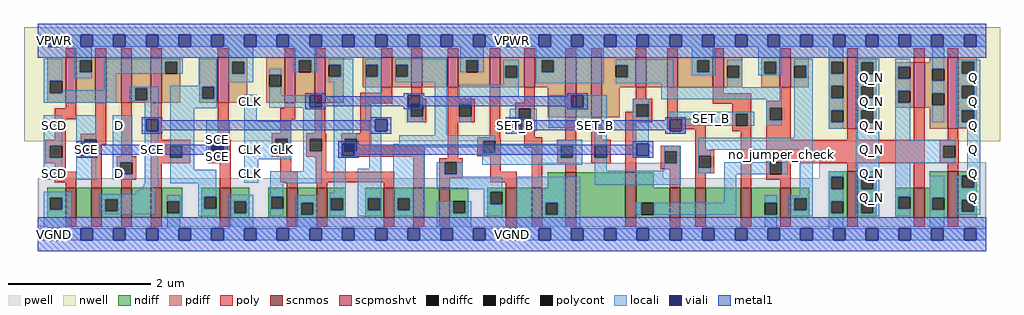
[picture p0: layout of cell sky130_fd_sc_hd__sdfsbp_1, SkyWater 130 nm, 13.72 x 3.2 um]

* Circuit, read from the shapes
.subckt sky130_fd_sc_hd__sdfsbp_1 CLK D SCD SCE SET_B VGND VNB VPB VPWR Q Q_N
XM1 n1 SCD VGND VNB sky130_fd_pr__nfet_01v8 w=0.42 l=0.15
XM2 n2 SCE n1 VNB sky130_fd_pr__nfet_01v8 w=0.42 l=0.15
XM3 n3 D n2 VNB sky130_fd_pr__nfet_01v8 w=0.42 l=0.15
XM4 VGND n4 n3 VNB sky130_fd_pr__nfet_01v8 w=0.42 l=0.15
XM5 VGND SCE n4 VNB sky130_fd_pr__nfet_01v8 w=0.42 l=0.15
XM6 VGND CLK n5 VNB sky130_fd_pr__nfet_01v8 w=0.42 l=0.15
XM7 n6 n5 VGND VNB sky130_fd_pr__nfet_01v8 w=0.42 l=0.15
XM8 n7 n5 n2 VNB sky130_fd_pr__nfet_01v8 w=0.42 l=0.15
XM9 n8 n6 n7 VNB sky130_fd_pr__nfet_01v8 w=0.42 l=0.15
XM10 VGND n9 n8 VNB sky130_fd_pr__nfet_01v8 w=0.42 l=0.15
XM11 n10 n7 n9 VNB sky130_fd_pr__nfet_01v8 w=0.42 l=0.15
XM12 VGND SET_B n10 VNB sky130_fd_pr__nfet_01v8 w=0.42 l=0.15
XM13 n11 n7 VGND VNB sky130_fd_pr__nfet_01v8 w=0.64 l=0.15
XM14 n12 n6 n11 VNB sky130_fd_pr__nfet_01v8 w=0.64 l=0.15
XM15 n13 n5 n12 VNB sky130_fd_pr__nfet_01v8 w=0.42 l=0.15
XM16 n14 n15 n13 VNB sky130_fd_pr__nfet_01v8 w=0.42 l=0.15
XM17 VGND SET_B n14 VNB sky130_fd_pr__nfet_01v8 w=0.42 l=0.15
XM18 n15 n12 VGND VNB sky130_fd_pr__nfet_01v8 w=0.42 l=0.15
XM19 Q_N n12 VGND VNB sky130_fd_pr__nfet_01v8 w=0.65 l=0.15
XM20 VGND n12 n16 VNB sky130_fd_pr__nfet_01v8 w=0.42 l=0.15
XM21 Q n16 VGND VNB sky130_fd_pr__nfet_01v8 w=0.65 l=0.15
XM22 VPWR SCD n17 VPB sky130_fd_pr__pfet_01v8_hvt w=0.64 l=0.15
XM23 n18 SCE VPWR VPB sky130_fd_pr__pfet_01v8_hvt w=0.64 l=0.15
XM24 n2 D n18 VPB sky130_fd_pr__pfet_01v8_hvt w=0.64 l=0.15
XM25 n17 n4 n2 VPB sky130_fd_pr__pfet_01v8_hvt w=0.64 l=0.15
XM26 VPWR SCE n4 VPB sky130_fd_pr__pfet_01v8_hvt w=0.64 l=0.15
XM27 VPWR CLK n5 VPB sky130_fd_pr__pfet_01v8_hvt w=0.64 l=0.15
XM28 n6 n5 VPWR VPB sky130_fd_pr__pfet_01v8_hvt w=0.64 l=0.15
XM29 n7 n6 n2 VPB sky130_fd_pr__pfet_01v8_hvt w=0.42 l=0.15
XM30 n19 n5 n7 VPB sky130_fd_pr__pfet_01v8_hvt w=0.42 l=0.15
XM31 VPWR n9 n19 VPB sky130_fd_pr__pfet_01v8_hvt w=0.42 l=0.15
XM32 n9 n7 VPWR VPB sky130_fd_pr__pfet_01v8_hvt w=0.42 l=0.15
XM33 VPWR SET_B n9 VPB sky130_fd_pr__pfet_01v8_hvt w=0.42 l=0.15
XM34 n20 n7 VPWR VPB sky130_fd_pr__pfet_01v8_hvt w=0.84 l=0.15
XM35 n12 n5 n20 VPB sky130_fd_pr__pfet_01v8_hvt w=0.84 l=0.15
XM36 n21 n6 n12 VPB sky130_fd_pr__pfet_01v8_hvt w=0.42 l=0.15
XM37 VPWR n15 n21 VPB sky130_fd_pr__pfet_01v8_hvt w=0.42 l=0.15
XM38 n12 SET_B VPWR VPB sky130_fd_pr__pfet_01v8_hvt w=0.42 l=0.15
XM39 n15 n12 VPWR VPB sky130_fd_pr__pfet_01v8_hvt w=0.42 l=0.15
XM40 Q_N n12 VPWR VPB sky130_fd_pr__pfet_01v8_hvt w=1 l=0.15
XM41 VPWR n12 n16 VPB sky130_fd_pr__pfet_01v8_hvt w=0.64 l=0.15
XM42 Q n16 VPWR VPB sky130_fd_pr__pfet_01v8_hvt w=1 l=0.15
.ends

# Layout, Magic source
magic
tech sky130B
magscale 1 2
<< nwell >>
rect -38 261 2706 582
<< pwell >>
rect 1408 157 1759 201
rect 2198 157 2667 203
rect 1 21 2667 157
rect 30 -17 64 21
<< scnmos >>
rect 79 47 109 131
rect 151 47 181 131
rect 235 47 265 131
rect 319 47 349 131
rect 513 47 543 131
rect 701 47 731 131
rect 785 47 815 131
rect 973 47 1003 131
rect 1057 47 1087 131
rect 1129 47 1159 131
rect 1317 47 1347 131
rect 1389 47 1419 131
rect 1484 47 1514 175
rect 1653 47 1683 175
rect 1777 47 1807 131
rect 1849 47 1879 131
rect 1977 47 2007 131
rect 2088 47 2118 131
rect 2276 47 2306 177
rect 2464 47 2494 131
rect 2559 47 2589 177
<< scpmoshvt >>
rect 79 369 109 497
rect 163 369 193 497
rect 235 369 265 497
rect 319 369 349 497
rect 507 369 537 497
rect 695 369 725 497
rect 779 369 809 497
rect 967 413 997 497
rect 1051 413 1081 497
rect 1153 413 1183 497
rect 1271 413 1301 497
rect 1368 413 1398 497
rect 1484 329 1514 497
rect 1557 329 1587 497
rect 1682 413 1712 497
rect 1770 413 1800 497
rect 1899 413 1929 497
rect 2087 413 2117 497
rect 2276 297 2306 497
rect 2464 355 2494 483
rect 2559 297 2589 497
<< ndiff >>
rect 1434 131 1484 175
rect 27 103 79 131
rect 27 69 35 103
rect 69 69 79 103
rect 27 47 79 69
rect 109 47 151 131
rect 181 98 235 131
rect 181 64 191 98
rect 225 64 235 98
rect 181 47 235 64
rect 265 47 319 131
rect 349 93 407 131
rect 349 59 365 93
rect 399 59 407 93
rect 349 47 407 59
rect 461 105 513 131
rect 461 71 469 105
rect 503 71 513 105
rect 461 47 513 71
rect 543 93 595 131
rect 543 59 553 93
rect 587 59 595 93
rect 543 47 595 59
rect 649 105 701 131
rect 649 71 657 105
rect 691 71 701 105
rect 649 47 701 71
rect 731 89 785 131
rect 731 55 741 89
rect 775 55 785 89
rect 731 47 785 55
rect 815 101 867 131
rect 815 67 825 101
rect 859 67 867 101
rect 815 47 867 67
rect 921 101 973 131
rect 921 67 929 101
rect 963 67 973 101
rect 921 47 973 67
rect 1003 101 1057 131
rect 1003 67 1013 101
rect 1047 67 1057 101
rect 1003 47 1057 67
rect 1087 47 1129 131
rect 1159 93 1211 131
rect 1159 59 1169 93
rect 1203 59 1211 93
rect 1159 47 1211 59
rect 1265 119 1317 131
rect 1265 85 1273 119
rect 1307 85 1317 119
rect 1265 47 1317 85
rect 1347 47 1389 131
rect 1419 89 1484 131
rect 1419 55 1429 89
rect 1463 55 1484 89
rect 1419 47 1484 55
rect 1514 47 1653 175
rect 1683 131 1733 175
rect 2224 161 2276 177
rect 1683 89 1777 131
rect 1683 55 1698 89
rect 1732 55 1777 89
rect 1683 47 1777 55
rect 1807 47 1849 131
rect 1879 47 1977 131
rect 2007 89 2088 131
rect 2007 55 2044 89
rect 2078 55 2088 89
rect 2007 47 2088 55
rect 2118 101 2170 131
rect 2118 67 2128 101
rect 2162 67 2170 101
rect 2118 47 2170 67
rect 2224 127 2232 161
rect 2266 127 2276 161
rect 2224 93 2276 127
rect 2224 59 2232 93
rect 2266 59 2276 93
rect 2224 47 2276 59
rect 2306 161 2358 177
rect 2306 127 2316 161
rect 2350 127 2358 161
rect 2509 131 2559 177
rect 2306 93 2358 127
rect 2306 59 2316 93
rect 2350 59 2358 93
rect 2306 47 2358 59
rect 2412 105 2464 131
rect 2412 71 2420 105
rect 2454 71 2464 105
rect 2412 47 2464 71
rect 2494 103 2559 131
rect 2494 69 2515 103
rect 2549 69 2559 103
rect 2494 47 2559 69
rect 2589 165 2641 177
rect 2589 131 2599 165
rect 2633 131 2641 165
rect 2589 97 2641 131
rect 2589 63 2599 97
rect 2633 63 2641 97
rect 2589 47 2641 63
<< pdiff >>
rect 27 431 79 497
rect 27 397 35 431
rect 69 397 79 431
rect 27 369 79 397
rect 109 489 163 497
rect 109 455 119 489
rect 153 455 163 489
rect 109 369 163 455
rect 193 369 235 497
rect 265 411 319 497
rect 265 377 275 411
rect 309 377 319 411
rect 265 369 319 377
rect 349 485 401 497
rect 349 451 359 485
rect 393 451 401 485
rect 349 369 401 451
rect 455 415 507 497
rect 455 381 463 415
rect 497 381 507 415
rect 455 369 507 381
rect 537 485 589 497
rect 537 451 547 485
rect 581 451 589 485
rect 537 369 589 451
rect 643 449 695 497
rect 643 415 651 449
rect 685 415 695 449
rect 643 369 695 415
rect 725 489 779 497
rect 725 455 735 489
rect 769 455 779 489
rect 725 369 779 455
rect 809 477 861 497
rect 809 443 819 477
rect 853 443 861 477
rect 809 369 861 443
rect 915 477 967 497
rect 915 443 923 477
rect 957 443 967 477
rect 915 413 967 443
rect 997 477 1051 497
rect 997 443 1007 477
rect 1041 443 1051 477
rect 997 413 1051 443
rect 1081 413 1153 497
rect 1183 489 1271 497
rect 1183 455 1205 489
rect 1239 455 1271 489
rect 1183 413 1271 455
rect 1301 474 1368 497
rect 1301 440 1315 474
rect 1349 440 1368 474
rect 1301 413 1368 440
rect 1398 489 1484 497
rect 1398 455 1417 489
rect 1451 455 1484 489
rect 1398 413 1484 455
rect 1434 329 1484 413
rect 1514 329 1557 497
rect 1587 475 1682 497
rect 1587 441 1626 475
rect 1660 441 1682 475
rect 1587 413 1682 441
rect 1712 413 1770 497
rect 1800 489 1899 497
rect 1800 455 1855 489
rect 1889 455 1899 489
rect 1800 413 1899 455
rect 1929 474 1981 497
rect 1929 440 1939 474
rect 1973 440 1981 474
rect 1929 413 1981 440
rect 2035 485 2087 497
rect 2035 451 2043 485
rect 2077 451 2087 485
rect 2035 413 2087 451
rect 2117 474 2169 497
rect 2117 440 2127 474
rect 2161 440 2169 474
rect 2117 413 2169 440
rect 2224 485 2276 497
rect 2224 451 2232 485
rect 2266 451 2276 485
rect 2224 417 2276 451
rect 1587 329 1637 413
rect 2224 383 2232 417
rect 2266 383 2276 417
rect 2224 349 2276 383
rect 2224 315 2232 349
rect 2266 315 2276 349
rect 2224 297 2276 315
rect 2306 484 2358 497
rect 2306 450 2316 484
rect 2350 450 2358 484
rect 2509 483 2559 497
rect 2306 416 2358 450
rect 2306 382 2316 416
rect 2350 382 2358 416
rect 2306 348 2358 382
rect 2412 471 2464 483
rect 2412 437 2420 471
rect 2454 437 2464 471
rect 2412 403 2464 437
rect 2412 369 2420 403
rect 2454 369 2464 403
rect 2412 355 2464 369
rect 2494 465 2559 483
rect 2494 431 2515 465
rect 2549 431 2559 465
rect 2494 397 2559 431
rect 2494 363 2515 397
rect 2549 363 2559 397
rect 2494 355 2559 363
rect 2306 314 2316 348
rect 2350 314 2358 348
rect 2306 297 2358 314
rect 2509 297 2559 355
rect 2589 485 2641 497
rect 2589 451 2599 485
rect 2633 451 2641 485
rect 2589 417 2641 451
rect 2589 383 2599 417
rect 2633 383 2641 417
rect 2589 349 2641 383
rect 2589 315 2599 349
rect 2633 315 2641 349
rect 2589 297 2641 315
<< ndiffc >>
rect 35 69 69 103
rect 191 64 225 98
rect 365 59 399 93
rect 469 71 503 105
rect 553 59 587 93
rect 657 71 691 105
rect 741 55 775 89
rect 825 67 859 101
rect 929 67 963 101
rect 1013 67 1047 101
rect 1169 59 1203 93
rect 1273 85 1307 119
rect 1429 55 1463 89
rect 1698 55 1732 89
rect 2044 55 2078 89
rect 2128 67 2162 101
rect 2232 127 2266 161
rect 2232 59 2266 93
rect 2316 127 2350 161
rect 2316 59 2350 93
rect 2420 71 2454 105
rect 2515 69 2549 103
rect 2599 131 2633 165
rect 2599 63 2633 97
<< pdiffc >>
rect 35 397 69 431
rect 119 455 153 489
rect 275 377 309 411
rect 359 451 393 485
rect 463 381 497 415
rect 547 451 581 485
rect 651 415 685 449
rect 735 455 769 489
rect 819 443 853 477
rect 923 443 957 477
rect 1007 443 1041 477
rect 1205 455 1239 489
rect 1315 440 1349 474
rect 1417 455 1451 489
rect 1626 441 1660 475
rect 1855 455 1889 489
rect 1939 440 1973 474
rect 2043 451 2077 485
rect 2127 440 2161 474
rect 2232 451 2266 485
rect 2232 383 2266 417
rect 2232 315 2266 349
rect 2316 450 2350 484
rect 2316 382 2350 416
rect 2420 437 2454 471
rect 2420 369 2454 403
rect 2515 431 2549 465
rect 2515 363 2549 397
rect 2316 314 2350 348
rect 2599 451 2633 485
rect 2599 383 2633 417
rect 2599 315 2633 349
<< poly >>
rect 79 497 109 523
rect 163 497 193 523
rect 235 497 265 523
rect 319 497 349 523
rect 507 497 537 523
rect 695 497 725 523
rect 779 497 809 523
rect 967 497 997 523
rect 1051 497 1081 523
rect 1153 497 1183 523
rect 1271 497 1301 523
rect 1368 497 1398 523
rect 1484 497 1514 523
rect 1557 497 1587 523
rect 1682 497 1712 523
rect 1770 497 1800 523
rect 1899 497 1929 523
rect 2087 497 2117 523
rect 2276 497 2306 523
rect 967 398 997 413
rect 79 354 109 369
rect 49 324 109 354
rect 49 265 79 324
rect 163 283 193 369
rect 22 249 79 265
rect 22 215 35 249
rect 69 215 79 249
rect 121 267 193 283
rect 121 233 131 267
rect 165 253 193 267
rect 165 233 181 253
rect 121 217 181 233
rect 235 219 265 369
rect 319 265 349 369
rect 507 265 537 369
rect 695 354 725 369
rect 683 324 725 354
rect 683 284 713 324
rect 779 284 809 369
rect 908 368 997 398
rect 1051 381 1081 413
rect 1153 381 1183 413
rect 908 284 938 368
rect 1039 365 1093 381
rect 1039 331 1049 365
rect 1083 331 1093 365
rect 1039 315 1093 331
rect 1153 365 1229 381
rect 1153 331 1185 365
rect 1219 331 1229 365
rect 1153 315 1229 331
rect 659 268 713 284
rect 319 249 429 265
rect 22 199 79 215
rect 49 176 79 199
rect 49 146 109 176
rect 79 131 109 146
rect 151 131 181 217
rect 223 203 277 219
rect 223 169 233 203
rect 267 169 277 203
rect 223 153 277 169
rect 319 215 373 249
rect 407 215 429 249
rect 319 199 429 215
rect 480 249 543 265
rect 480 215 490 249
rect 524 215 543 249
rect 659 234 669 268
rect 703 234 713 268
rect 659 218 713 234
rect 755 268 812 284
rect 755 234 765 268
rect 799 234 812 268
rect 755 218 812 234
rect 854 268 938 284
rect 854 234 864 268
rect 898 248 938 268
rect 898 234 1087 248
rect 854 218 1087 234
rect 480 199 543 215
rect 235 131 265 153
rect 319 131 349 199
rect 513 131 543 199
rect 683 176 713 218
rect 782 176 812 218
rect 683 146 731 176
rect 782 146 1003 176
rect 701 131 731 146
rect 785 131 815 146
rect 973 131 1003 146
rect 1057 131 1087 218
rect 1153 213 1183 315
rect 1271 273 1301 413
rect 1368 369 1398 413
rect 1343 353 1398 369
rect 1343 319 1353 353
rect 1387 319 1398 353
rect 1682 381 1712 413
rect 1674 365 1728 381
rect 1674 345 1684 365
rect 1653 331 1684 345
rect 1718 331 1728 365
rect 1343 303 1398 319
rect 1237 270 1301 273
rect 1368 273 1398 303
rect 1237 263 1303 270
rect 1237 229 1253 263
rect 1287 229 1303 263
rect 1368 243 1419 273
rect 1484 265 1514 329
rect 1557 265 1587 329
rect 1653 315 1728 331
rect 1770 325 1800 413
rect 1899 397 1929 413
rect 1899 367 2007 397
rect 2087 375 2117 413
rect 1953 339 2007 367
rect 1237 219 1303 229
rect 1129 203 1195 213
rect 1129 169 1145 203
rect 1179 169 1195 203
rect 1129 159 1195 169
rect 1273 176 1303 219
rect 1129 131 1159 159
rect 1273 146 1347 176
rect 1317 131 1347 146
rect 1389 131 1419 243
rect 1461 249 1515 265
rect 1461 215 1471 249
rect 1505 215 1515 249
rect 1461 199 1515 215
rect 1557 249 1611 265
rect 1557 215 1567 249
rect 1601 215 1611 249
rect 1557 199 1611 215
rect 1484 175 1514 199
rect 1653 175 1683 315
rect 1770 295 1879 325
rect 1752 233 1807 249
rect 1752 199 1763 233
rect 1797 199 1807 233
rect 1752 183 1807 199
rect 1777 131 1807 183
rect 1849 237 1879 295
rect 1953 305 1963 339
rect 1997 305 2007 339
rect 1953 289 2007 305
rect 1849 221 1903 237
rect 1849 187 1859 221
rect 1893 187 1903 221
rect 1849 171 1903 187
rect 1849 131 1879 171
rect 1977 131 2007 289
rect 2049 355 2117 375
rect 2049 321 2059 355
rect 2093 321 2117 355
rect 2049 265 2117 321
rect 2464 483 2494 523
rect 2559 497 2589 523
rect 2276 265 2306 297
rect 2464 265 2494 355
rect 2559 265 2589 297
rect 2049 203 2494 265
rect 2049 169 2059 203
rect 2093 199 2494 203
rect 2536 249 2590 265
rect 2536 215 2546 249
rect 2580 215 2590 249
rect 2536 199 2590 215
rect 2093 169 2118 199
rect 2276 177 2306 199
rect 2049 153 2118 169
rect 2088 131 2118 153
rect 2464 131 2494 199
rect 2559 177 2589 199
rect 79 21 109 47
rect 151 21 181 47
rect 235 21 265 47
rect 319 21 349 47
rect 513 21 543 47
rect 701 21 731 47
rect 785 21 815 47
rect 973 21 1003 47
rect 1057 21 1087 47
rect 1129 21 1159 47
rect 1317 21 1347 47
rect 1389 21 1419 47
rect 1484 21 1514 47
rect 1653 21 1683 47
rect 1777 21 1807 47
rect 1849 21 1879 47
rect 1977 21 2007 47
rect 2088 21 2118 47
rect 2276 21 2306 47
rect 2464 21 2494 47
rect 2559 21 2589 47
<< polycont >>
rect 35 215 69 249
rect 131 233 165 267
rect 1049 331 1083 365
rect 1185 331 1219 365
rect 233 169 267 203
rect 373 215 407 249
rect 490 215 524 249
rect 669 234 703 268
rect 765 234 799 268
rect 864 234 898 268
rect 1353 319 1387 353
rect 1684 331 1718 365
rect 1253 229 1287 263
rect 1145 169 1179 203
rect 1471 215 1505 249
rect 1567 215 1601 249
rect 1763 199 1797 233
rect 1963 305 1997 339
rect 1859 187 1893 221
rect 2059 321 2093 355
rect 2059 169 2093 203
rect 2546 215 2580 249
<< locali >>
rect 0 527 29 561
rect 63 527 121 561
rect 155 527 213 561
rect 247 527 305 561
rect 339 527 397 561
rect 431 527 489 561
rect 523 527 581 561
rect 615 527 673 561
rect 707 527 765 561
rect 799 527 857 561
rect 891 527 949 561
rect 983 527 1041 561
rect 1075 527 1133 561
rect 1167 527 1225 561
rect 1259 527 1317 561
rect 1351 527 1409 561
rect 1443 527 1501 561
rect 1535 527 1593 561
rect 1627 527 1685 561
rect 1719 527 1777 561
rect 1811 527 1869 561
rect 1903 527 1961 561
rect 1995 527 2053 561
rect 2087 527 2145 561
rect 2179 527 2237 561
rect 2271 527 2329 561
rect 2363 527 2421 561
rect 2455 527 2513 561
rect 2547 527 2605 561
rect 2639 527 2668 561
rect 17 431 69 493
rect 103 489 153 527
rect 103 455 119 489
rect 103 439 153 455
rect 187 485 409 493
rect 187 451 359 485
rect 393 451 409 485
rect 17 397 35 431
rect 187 405 221 451
rect 454 417 504 493
rect 538 485 606 527
rect 538 451 547 485
rect 581 451 606 485
rect 719 489 785 527
rect 538 428 606 451
rect 651 449 685 465
rect 719 455 735 489
rect 769 455 785 489
rect 819 477 888 493
rect 373 415 504 417
rect 69 397 221 405
rect 17 369 221 397
rect 259 411 339 415
rect 259 377 275 411
rect 309 377 339 411
rect 259 374 339 377
rect 17 249 69 335
rect 17 215 35 249
rect 17 153 69 215
rect 109 267 165 335
rect 109 255 131 267
rect 109 221 122 255
rect 156 221 165 233
rect 109 153 165 221
rect 211 203 267 335
rect 211 169 233 203
rect 211 153 267 169
rect 301 323 339 374
rect 301 289 305 323
rect 301 141 339 289
rect 373 381 463 415
rect 497 381 504 415
rect 853 443 888 477
rect 819 427 888 443
rect 373 354 504 381
rect 373 249 440 354
rect 407 215 440 249
rect 474 255 540 320
rect 474 221 489 255
rect 523 249 540 255
rect 474 215 490 221
rect 524 215 540 249
rect 581 318 617 392
rect 651 391 685 415
rect 651 357 765 391
rect 651 355 799 357
rect 581 268 713 318
rect 581 234 669 268
rect 703 234 713 268
rect 373 181 440 215
rect 581 211 713 234
rect 747 268 799 355
rect 747 234 765 268
rect 373 143 503 181
rect 581 145 620 211
rect 747 177 799 234
rect 299 133 339 141
rect 295 131 339 133
rect 295 129 334 131
rect 292 127 334 129
rect 289 126 334 127
rect 288 124 334 126
rect 286 123 334 124
rect 284 122 332 123
rect 281 121 332 122
rect 279 120 332 121
rect 17 103 96 119
rect 276 118 332 120
rect 276 112 331 118
rect 17 69 35 103
rect 69 69 96 103
rect 17 17 96 69
rect 175 98 331 112
rect 175 64 191 98
rect 225 64 331 98
rect 175 56 331 64
rect 365 93 401 109
rect 399 59 401 93
rect 365 17 401 59
rect 452 105 503 143
rect 654 143 799 177
rect 833 284 888 427
rect 922 477 966 493
rect 922 443 923 477
rect 957 443 966 477
rect 922 323 966 443
rect 1006 477 1151 493
rect 1006 443 1007 477
rect 1041 443 1151 477
rect 1189 489 1255 527
rect 1189 455 1205 489
rect 1239 455 1255 489
rect 1310 474 1353 490
rect 1006 427 1151 443
rect 1075 365 1083 391
rect 1041 331 1049 357
rect 922 318 949 323
rect 932 289 949 318
rect 1041 315 1083 331
rect 833 268 898 284
rect 833 255 864 268
rect 833 221 857 255
rect 891 221 898 234
rect 833 218 898 221
rect 452 71 469 105
rect 452 51 503 71
rect 538 93 606 111
rect 538 59 553 93
rect 587 59 606 93
rect 538 17 606 59
rect 654 105 691 143
rect 833 117 867 218
rect 932 184 966 289
rect 1117 279 1151 427
rect 1310 440 1315 474
rect 1349 440 1353 474
rect 1310 421 1353 440
rect 1401 489 1592 527
rect 1401 455 1417 489
rect 1451 455 1592 489
rect 1401 425 1592 455
rect 1626 475 1787 492
rect 1660 441 1787 475
rect 1839 489 1905 527
rect 1839 455 1855 489
rect 1889 455 1905 489
rect 1839 447 1905 455
rect 1939 474 1982 490
rect 1626 425 1787 441
rect 1185 387 1353 421
rect 1753 413 1787 425
rect 1973 440 1982 474
rect 2027 485 2093 527
rect 2027 451 2043 485
rect 2077 451 2093 485
rect 2027 447 2093 451
rect 2127 474 2179 493
rect 1939 413 1982 440
rect 2161 440 2179 474
rect 1185 365 1219 387
rect 1438 357 1501 391
rect 1535 357 1601 391
rect 1185 315 1219 331
rect 1328 323 1353 353
rect 1387 319 1403 353
rect 1362 289 1403 319
rect 1438 299 1601 357
rect 1017 263 1287 279
rect 1017 255 1253 263
rect 654 71 657 105
rect 654 51 691 71
rect 726 89 788 109
rect 726 55 741 89
rect 775 55 788 89
rect 726 17 788 55
rect 822 101 867 117
rect 822 67 825 101
rect 859 67 867 101
rect 822 51 867 67
rect 901 101 966 184
rect 901 67 929 101
rect 963 67 966 101
rect 901 51 966 67
rect 1000 245 1253 255
rect 1000 101 1088 245
rect 1250 229 1253 245
rect 1460 255 1532 265
rect 1287 249 1532 255
rect 1287 229 1471 249
rect 1250 215 1471 229
rect 1505 215 1532 249
rect 1122 169 1145 203
rect 1179 169 1195 203
rect 1250 195 1532 215
rect 1567 249 1601 299
rect 1673 365 1719 381
rect 1753 379 2093 413
rect 1673 331 1684 365
rect 1718 331 1719 365
rect 2049 355 2093 379
rect 1673 255 1719 331
rect 1777 339 2015 345
rect 1777 323 1963 339
rect 1811 305 1963 323
rect 1997 305 2015 339
rect 2049 321 2059 355
rect 2049 305 2093 321
rect 1811 289 1822 305
rect 1777 283 1822 289
rect 2127 271 2179 440
rect 2224 485 2266 527
rect 2224 451 2232 485
rect 2224 417 2266 451
rect 2224 383 2232 417
rect 2224 349 2266 383
rect 2224 315 2232 349
rect 2224 297 2266 315
rect 2300 484 2366 493
rect 2300 450 2316 484
rect 2350 450 2366 484
rect 2300 416 2366 450
rect 2300 382 2316 416
rect 2350 382 2366 416
rect 2300 348 2366 382
rect 2300 314 2316 348
rect 2350 314 2366 348
rect 1673 221 1685 255
rect 1673 215 1719 221
rect 1762 233 1808 249
rect 1122 161 1195 169
rect 1567 179 1601 215
rect 1762 199 1763 233
rect 1797 199 1808 233
rect 1762 179 1808 199
rect 1122 127 1307 161
rect 1000 67 1013 101
rect 1047 67 1088 101
rect 1255 119 1307 127
rect 1000 51 1088 67
rect 1122 59 1169 93
rect 1203 59 1219 93
rect 1122 17 1219 59
rect 1255 85 1273 119
rect 1255 51 1307 85
rect 1347 89 1526 161
rect 1567 139 1808 179
rect 1858 237 2179 271
rect 1858 221 1893 237
rect 1858 187 1859 221
rect 1858 171 1893 187
rect 1931 169 2059 203
rect 2093 169 2109 203
rect 1931 89 1965 169
rect 1347 55 1429 89
rect 1463 55 1526 89
rect 1682 55 1698 89
rect 1732 55 1965 89
rect 2044 89 2078 109
rect 2143 108 2179 237
rect 1347 17 1526 55
rect 2044 17 2078 55
rect 2112 101 2179 108
rect 2112 67 2128 101
rect 2162 67 2179 101
rect 2112 51 2179 67
rect 2224 161 2266 177
rect 2224 127 2232 161
rect 2224 93 2266 127
rect 2224 59 2232 93
rect 2224 17 2266 59
rect 2300 161 2366 314
rect 2300 127 2316 161
rect 2350 127 2366 161
rect 2300 93 2366 127
rect 2300 59 2316 93
rect 2350 59 2366 93
rect 2300 51 2366 59
rect 2412 471 2454 493
rect 2412 437 2420 471
rect 2412 403 2454 437
rect 2412 369 2420 403
rect 2412 265 2454 369
rect 2515 465 2549 527
rect 2515 397 2549 431
rect 2515 315 2549 363
rect 2583 485 2651 490
rect 2583 451 2599 485
rect 2633 451 2651 485
rect 2583 417 2651 451
rect 2583 383 2599 417
rect 2633 383 2651 417
rect 2583 349 2651 383
rect 2583 315 2599 349
rect 2633 315 2651 349
rect 2583 299 2651 315
rect 2412 249 2580 265
rect 2412 215 2546 249
rect 2412 199 2580 215
rect 2412 105 2454 199
rect 2614 165 2651 299
rect 2412 71 2420 105
rect 2412 51 2454 71
rect 2508 103 2549 165
rect 2508 69 2515 103
rect 2508 17 2549 69
rect 2583 131 2599 165
rect 2633 131 2651 165
rect 2583 97 2651 131
rect 2583 63 2599 97
rect 2633 63 2651 97
rect 2583 55 2651 63
rect 0 -17 29 17
rect 63 -17 121 17
rect 155 -17 213 17
rect 247 -17 305 17
rect 339 -17 397 17
rect 431 -17 489 17
rect 523 -17 581 17
rect 615 -17 673 17
rect 707 -17 765 17
rect 799 -17 857 17
rect 891 -17 949 17
rect 983 -17 1041 17
rect 1075 -17 1133 17
rect 1167 -17 1225 17
rect 1259 -17 1317 17
rect 1351 -17 1409 17
rect 1443 -17 1501 17
rect 1535 -17 1593 17
rect 1627 -17 1685 17
rect 1719 -17 1777 17
rect 1811 -17 1869 17
rect 1903 -17 1961 17
rect 1995 -17 2053 17
rect 2087 -17 2145 17
rect 2179 -17 2237 17
rect 2271 -17 2329 17
rect 2363 -17 2421 17
rect 2455 -17 2513 17
rect 2547 -17 2605 17
rect 2639 -17 2668 17
<< viali >>
rect 29 527 63 561
rect 121 527 155 561
rect 213 527 247 561
rect 305 527 339 561
rect 397 527 431 561
rect 489 527 523 561
rect 581 527 615 561
rect 673 527 707 561
rect 765 527 799 561
rect 857 527 891 561
rect 949 527 983 561
rect 1041 527 1075 561
rect 1133 527 1167 561
rect 1225 527 1259 561
rect 1317 527 1351 561
rect 1409 527 1443 561
rect 1501 527 1535 561
rect 1593 527 1627 561
rect 1685 527 1719 561
rect 1777 527 1811 561
rect 1869 527 1903 561
rect 1961 527 1995 561
rect 2053 527 2087 561
rect 2145 527 2179 561
rect 2237 527 2271 561
rect 2329 527 2363 561
rect 2421 527 2455 561
rect 2513 527 2547 561
rect 2605 527 2639 561
rect 122 233 131 255
rect 131 233 156 255
rect 122 221 156 233
rect 305 289 339 323
rect 489 249 523 255
rect 489 221 490 249
rect 490 221 523 249
rect 765 357 799 391
rect 1041 365 1075 391
rect 1041 357 1049 365
rect 1049 357 1075 365
rect 949 289 983 323
rect 857 234 864 255
rect 864 234 891 255
rect 857 221 891 234
rect 1501 357 1535 391
rect 1328 319 1353 323
rect 1353 319 1362 323
rect 1328 289 1362 319
rect 1777 289 1811 323
rect 1685 221 1719 255
rect 29 -17 63 17
rect 121 -17 155 17
rect 213 -17 247 17
rect 305 -17 339 17
rect 397 -17 431 17
rect 489 -17 523 17
rect 581 -17 615 17
rect 673 -17 707 17
rect 765 -17 799 17
rect 857 -17 891 17
rect 949 -17 983 17
rect 1041 -17 1075 17
rect 1133 -17 1167 17
rect 1225 -17 1259 17
rect 1317 -17 1351 17
rect 1409 -17 1443 17
rect 1501 -17 1535 17
rect 1593 -17 1627 17
rect 1685 -17 1719 17
rect 1777 -17 1811 17
rect 1869 -17 1903 17
rect 1961 -17 1995 17
rect 2053 -17 2087 17
rect 2145 -17 2179 17
rect 2237 -17 2271 17
rect 2329 -17 2363 17
rect 2421 -17 2455 17
rect 2513 -17 2547 17
rect 2605 -17 2639 17
<< metal1 >>
rect 0 561 2668 592
rect 0 527 29 561
rect 63 527 121 561
rect 155 527 213 561
rect 247 527 305 561
rect 339 527 397 561
rect 431 527 489 561
rect 523 527 581 561
rect 615 527 673 561
rect 707 527 765 561
rect 799 527 857 561
rect 891 527 949 561
rect 983 527 1041 561
rect 1075 527 1133 561
rect 1167 527 1225 561
rect 1259 527 1317 561
rect 1351 527 1409 561
rect 1443 527 1501 561
rect 1535 527 1593 561
rect 1627 527 1685 561
rect 1719 527 1777 561
rect 1811 527 1869 561
rect 1903 527 1961 561
rect 1995 527 2053 561
rect 2087 527 2145 561
rect 2179 527 2237 561
rect 2271 527 2329 561
rect 2363 527 2421 561
rect 2455 527 2513 561
rect 2547 527 2605 561
rect 2639 527 2668 561
rect 0 496 2668 527
rect 753 391 811 397
rect 753 357 765 391
rect 799 388 811 391
rect 1029 391 1087 397
rect 1029 388 1041 391
rect 799 360 1041 388
rect 799 357 811 360
rect 753 351 811 357
rect 1029 357 1041 360
rect 1075 388 1087 391
rect 1489 391 1547 397
rect 1489 388 1501 391
rect 1075 360 1501 388
rect 1075 357 1087 360
rect 1029 351 1087 357
rect 1489 357 1501 360
rect 1535 357 1547 391
rect 1489 351 1547 357
rect 293 323 351 329
rect 293 289 305 323
rect 339 320 351 323
rect 937 323 995 329
rect 937 320 949 323
rect 339 292 949 320
rect 339 289 351 292
rect 293 283 351 289
rect 937 289 949 292
rect 983 289 995 323
rect 937 283 995 289
rect 1316 323 1374 329
rect 1316 289 1328 323
rect 1362 320 1374 323
rect 1765 323 1823 329
rect 1765 320 1777 323
rect 1362 292 1777 320
rect 1362 289 1374 292
rect 1316 283 1374 289
rect 1765 289 1777 292
rect 1811 289 1823 323
rect 1765 283 1823 289
rect 110 255 168 261
rect 110 221 122 255
rect 156 252 168 255
rect 477 255 535 261
rect 477 252 489 255
rect 156 224 489 252
rect 156 221 168 224
rect 110 215 168 221
rect 477 221 489 224
rect 523 221 535 255
rect 477 215 535 221
rect 845 255 903 261
rect 845 221 857 255
rect 891 252 903 255
rect 1673 255 1731 261
rect 1673 252 1685 255
rect 891 224 1685 252
rect 891 221 903 224
rect 845 215 903 221
rect 1673 221 1685 224
rect 1719 221 1731 255
rect 1673 215 1731 221
rect 0 17 2668 48
rect 0 -17 29 17
rect 63 -17 121 17
rect 155 -17 213 17
rect 247 -17 305 17
rect 339 -17 397 17
rect 431 -17 489 17
rect 523 -17 581 17
rect 615 -17 673 17
rect 707 -17 765 17
rect 799 -17 857 17
rect 891 -17 949 17
rect 983 -17 1041 17
rect 1075 -17 1133 17
rect 1167 -17 1225 17
rect 1259 -17 1317 17
rect 1351 -17 1409 17
rect 1443 -17 1501 17
rect 1535 -17 1593 17
rect 1627 -17 1685 17
rect 1719 -17 1777 17
rect 1811 -17 1869 17
rect 1903 -17 1961 17
rect 1995 -17 2053 17
rect 2087 -17 2145 17
rect 2179 -17 2237 17
rect 2271 -17 2329 17
rect 2363 -17 2421 17
rect 2455 -17 2513 17
rect 2547 -17 2605 17
rect 2639 -17 2668 17
rect 0 -48 2668 -17
<< labels >>
flabel locali s 30 153 64 187 0 FreeSans 200 0 0 0 SCD
port 3 nsew signal input
flabel locali s 581 357 615 391 0 FreeSans 200 0 0 0 CLK
port 1 nsew clock input
flabel locali s 2329 357 2363 391 0 FreeSans 200 0 0 0 Q_N
port 11 nsew signal output
flabel locali s 214 289 248 323 0 FreeSans 200 0 0 0 D
port 2 nsew signal input
flabel locali s 2329 425 2363 459 0 FreeSans 200 0 0 0 Q_N
port 11 nsew signal output
flabel locali s 30 289 64 323 0 FreeSans 200 0 0 0 SCD
port 3 nsew signal input
flabel locali s 2329 289 2363 323 0 FreeSans 200 0 0 0 Q_N
port 11 nsew signal output
flabel locali s 2329 221 2363 255 0 FreeSans 200 0 0 0 Q_N
port 11 nsew signal output
flabel locali s 2329 153 2363 187 0 FreeSans 200 0 0 0 Q_N
port 11 nsew signal output
flabel locali s 2329 85 2363 119 0 FreeSans 200 0 0 0 Q_N
port 11 nsew signal output
flabel locali s 1328 289 1362 323 0 FreeSans 200 0 0 0 SET_B
port 5 nsew signal input
flabel locali s 122 221 156 255 0 FreeSans 200 0 0 0 SCE
port 4 nsew signal input
flabel locali s 214 153 248 187 0 FreeSans 200 0 0 0 D
port 2 nsew signal input
flabel locali s 581 221 615 255 0 FreeSans 200 0 0 0 CLK
port 1 nsew clock input
flabel locali s 581 153 615 187 0 FreeSans 200 0 0 0 CLK
port 1 nsew clock input
flabel locali s 673 221 707 255 0 FreeSans 200 0 0 0 CLK
port 1 nsew clock input
flabel locali s 2614 357 2648 391 0 FreeSans 200 0 0 0 Q
port 10 nsew signal output
flabel locali s 2614 425 2648 459 0 FreeSans 200 0 0 0 Q
port 10 nsew signal output
flabel locali s 2614 221 2648 255 0 FreeSans 200 0 0 0 Q
port 10 nsew signal output
flabel locali s 2614 153 2648 187 0 FreeSans 200 0 0 0 Q
port 10 nsew signal output
flabel locali s 2614 85 2648 119 0 FreeSans 200 0 0 0 Q
port 10 nsew signal output
flabel locali s 2614 289 2648 323 0 FreeSans 200 0 0 0 Q
port 10 nsew signal output
flabel metal1 s 30 527 64 561 0 FreeSans 200 0 0 0 VPWR
port 9 nsew power bidirectional abutment
flabel metal1 s 30 -17 64 17 0 FreeSans 200 0 0 0 VGND
port 6 nsew ground bidirectional abutment
flabel nwell s 30 527 64 561 0 FreeSans 200 0 0 0 VPB
port 8 nsew power bidirectional
flabel pwell s 30 -17 64 17 0 FreeSans 200 0 0 0 VNB
port 7 nsew ground bidirectional
flabel comment s 2092 225 2092 225 0 FreeSans 200 0 0 0 no_jumper_check
rlabel comment s 0 0 0 0 4 sdfsbp_1
flabel comment s 1165 297 1165 297 0 FreeSans 200 0 0 0 no_jumper_check
rlabel locali s 474 215 540 320 1 SCE
port 4 nsew signal input
rlabel metal1 s 477 252 535 261 1 SCE
port 4 nsew signal input
rlabel metal1 s 477 215 535 224 1 SCE
port 4 nsew signal input
rlabel metal1 s 110 252 168 261 1 SCE
port 4 nsew signal input
rlabel metal1 s 110 224 535 252 1 SCE
port 4 nsew signal input
rlabel metal1 s 110 215 168 224 1 SCE
port 4 nsew signal input
rlabel locali s 1777 305 2015 345 1 SET_B
port 5 nsew signal input
rlabel locali s 1777 283 1822 305 1 SET_B
port 5 nsew signal input
rlabel metal1 s 1765 320 1823 329 1 SET_B
port 5 nsew signal input
rlabel metal1 s 1765 283 1823 292 1 SET_B
port 5 nsew signal input
rlabel metal1 s 1316 320 1374 329 1 SET_B
port 5 nsew signal input
rlabel metal1 s 1316 292 1823 320 1 SET_B
port 5 nsew signal input
rlabel metal1 s 1316 283 1374 292 1 SET_B
port 5 nsew signal input
rlabel metal1 s 0 -48 2668 48 1 VGND
port 6 nsew ground bidirectional abutment
rlabel metal1 s 0 496 2668 592 1 VPWR
port 9 nsew power bidirectional abutment
<< properties >>
string FIXED_BBOX 0 0 2668 544
string GDS_END 99194
string GDS_FILE $PDKPATH/libs.ref/sky130_fd_sc_hd/gds/sky130_fd_sc_hd.gds
string GDS_START 77522
string LEFclass CORE
string LEFsite unithd
string LEFsymmetry X Y R90
string path 0.000 2.720 13.340 2.720 
<< end >>
